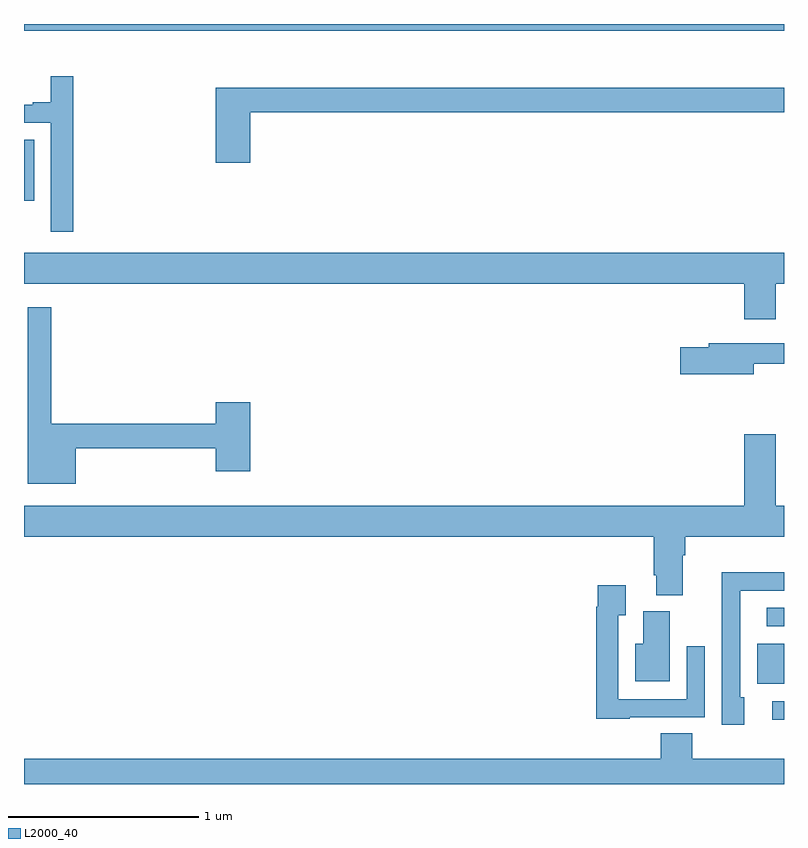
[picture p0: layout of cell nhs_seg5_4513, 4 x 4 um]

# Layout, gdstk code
import gdstk
lib = gdstk.Library(unit=1e-6, precision=1e-09)
def R(c, l, rs):  # rectangles x0, y0, x1, y1
    for r in rs: c.add(gdstk.rectangle(r[:2], r[2:], *l))
def P(c, l, *ps):  # polygons
    for p in ps: c.add(gdstk.Polygon(p, *l))
L2000_40 = (2000, 40)

nhs_seg5_4513 = lib.new_cell('nhs_seg5_4513')
R(nhs_seg5_4513, L2000_40, [(380.937,849.137,381,849.234), (380.858,849.327,381,849.538), (380.91,849.63,381,849.726), (377,851.87,377.053,852.19), (377,852.764,381,852.799)])
P(nhs_seg5_4513, L2000_40, [(377.258,852.523),(377.141,852.523),(377.141,852.388),(377.045,852.388),(377.045,852.375),(377,852.375),(377,852.279),(377.142,852.279),(377.142,851.706),(377.258,851.706)],
  [(378.191,852.334),(381,852.334),(381,852.463),(378.008,852.463),(378.008,852.069),(378.191,852.069)],
  [(380.956,851.432),(381,851.432),(381,851.596),(377,851.596),(377,851.432),(380.792,851.432),(380.792,851.244),(380.956,851.244)],
  [(377.272,850.566),(378.008,850.566),(378.008,850.446),(378.191,850.446),(378.191,850.807),(378.008,850.807),(378.008,850.694),(377.143,850.694),(377.143,851.308),(377.021,851.308),(377.021,850.379),(377.272,850.379)],
  [(380.842,851.01),(381,851.01),(381,851.118),(380.603,851.118),(380.603,851.097),(380.454,851.097),(380.454,850.955),(380.842,850.955)],
  [(380.467,850.004),(380.48,850.004),(380.48,850.1),(381,850.1),(381,850.264),(380.956,850.264),(380.956,850.639),(380.792,850.639),(380.792,850.264),(377,850.264),(377,850.1),(380.315,850.1),(380.315,849.898),(380.327,849.898),(380.327,849.793),(380.467,849.793)],
  [(380.791,849.255),(380.769,849.255),(380.769,849.816),(381,849.816),(381,849.914),(380.672,849.914),(380.672,849.61),(380.673,849.61),(380.673,849.111),(380.791,849.111)],
  [(380.187,849.15),(380.583,849.15),(380.583,849.523),(380.487,849.523),(380.487,849.246),(380.127,849.246),(380.127,849.688),(380.167,849.688),(380.167,849.844),(380.019,849.844),(380.019,849.731),(380.011,849.731),(380.011,849.143),(380.187,849.143)],
  [(380.398,849.708),(380.258,849.708),(380.258,849.538),(380.216,849.538),(380.216,849.341),(380.398,849.341)],
  [(381,848.932),(380.516,848.932),(380.516,849.065),(380.351,849.065),(380.351,848.932),(377,848.932),(377,848.799),(381,848.799)])

lib.write_gds('nhs_seg5_4513.gds')
